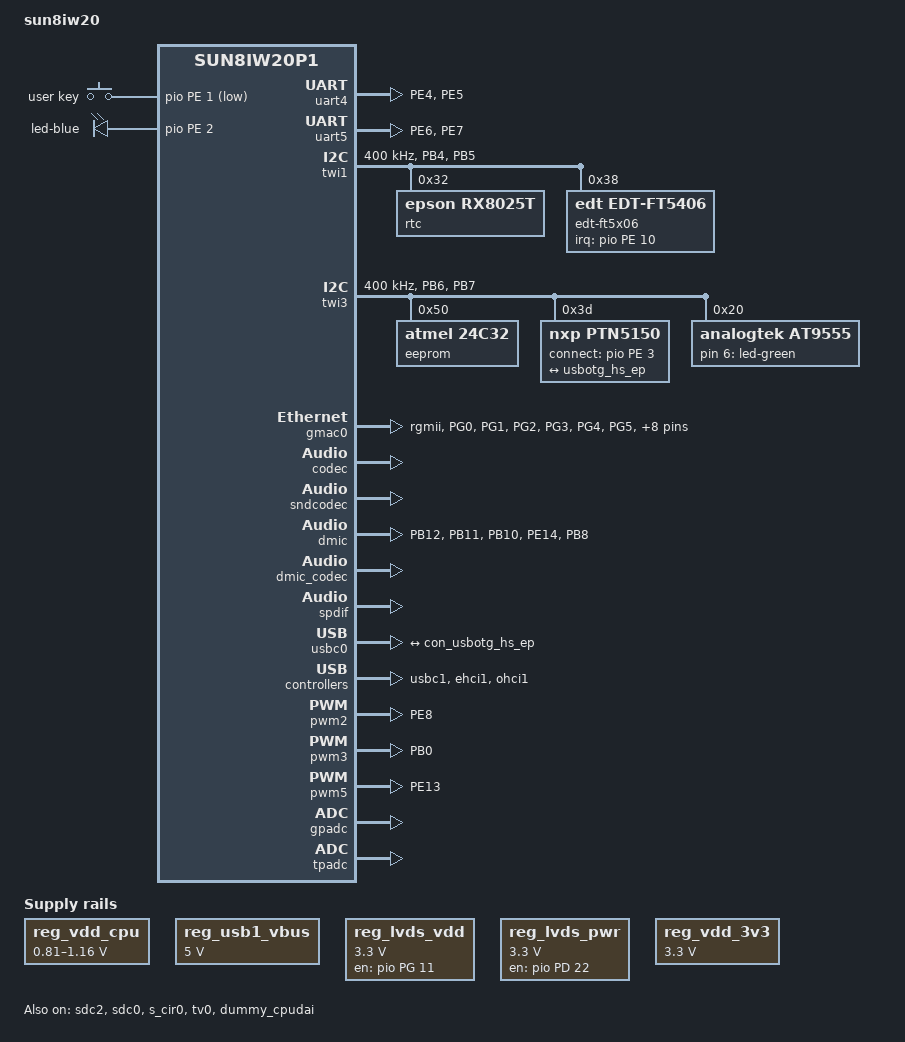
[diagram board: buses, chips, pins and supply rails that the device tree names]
/*
 * Allwinner Technology CO., Ltd.
 */

/dts-v1/;

/* optee used 7MB: SHM 2M: OS: 1M: TA:4M*/
/*/memreserve/ 0x41900000 0x00100000;*/
/* DSP used 1MB */
/* /memreserve/ 0x42000000 0x00100000; */

#include "sun8iw20p1.dtsi"
#include "myir-t113-lvds.dtsi"

/{
	model = "sun8iw20";
	compatible = "allwinner,r528", "arm,sun8iw20p1";

	aliases {
		share_space0 = &share_space0;
		dsp0_rproc = &dsp0_rproc;
	};

	reserved-memory {
		#address-cells = <2>;
		#size-cells = <2>;
		ranges;

		dsp0ddr_reserved: dspddr@42000000 {
			reg = <0x0 0x42000000 0x0 0x00100000>;
			no-map;
		};

		/*
		 * The name should be "vdev%dbuffer".
		 * Its size should be not less than
		 *     RPMSG_BUF_SIZE * (num of buffers in a vring) * 2
		 *   = 512 * (num of buffers in a vring) * 2
		 */
		vdev0buffer: vdev0buffer@42200000 {
			compatible = "shared-dma-pool";
			reg = <0x0 0x42200000 0x0 0x40000>;
			no-map;
		};

		/*
		 * The name should be "vdev%dvring%d".
		 * The size of each should be not less than
		 *     PAGE_ALIGN(vring_size(num, align))
		 *   = PAGE_ALIGN(16 * num + 6 + 2 * num + (pads for align) + 6 + 8 * num)
		 *
		 * (Please refer to the vring layout in include/uapi/linux/virtio_ring.h)
		 */
		vdev0vring0: vdev0vring0@42240000 {
			reg = <0x0 0x42240000 0x0 0x2000>;
			no-map;
		};
		vdev0vring1: vdev0vring1@42242000 {
			reg = <0x0 0x42242000 0x0 0x2000>;
			no-map;
		};

		/*
		* dsp ram addr
		*/
		dsp0dram_reserved: ramddr@400000 {
			reg = <0x0 0x400000 0x0 0x10000>;
			no-map;
		};
		dsp0iram0_reserved: ramddr@420000 {
			reg = <0x0 0x420000 0x0 0x8000>;
			no-map;
		};
		dsp0iram1_reserved: ramddr@440000 {
			reg = <0x0 0x440000 0x0 0x8000>;
			no-map;
		};
		dsp_share_space@42100000 {
			no-map;
			reg = <0x0 0x42100000 0x0 0x10000>;
		};
	};

	dsp0_rproc: dsp_rproc@0 {
		compatible = "allwinner,sun8iw20p1-dsp-rproc", "simple-bus";
		clock-frequency = <600000000>;
		clocks = <&ccu CLK_PLL_PERIPH0_2X>, <&ccu CLK_DSP>, <&ccu CLK_BUS_DSP_CFG>, <&r_ccu CLK_R_AHB>;
		clock-names = "pll", "mod", "bus", "ahbs";
		resets = <&ccu RST_BUS_DSP>, <&ccu RST_BUS_DSP_CFG>, <&ccu RST_BUS_DSP_DBG>;
		reset-names = "rst", "cfg", "dbg";
		reg = <0x0 0x03000008 0x0 0x04>,
		      <0x0 0x01700000 0x0 0x40>;
		reg-names = "sram-remap", "dsp-cfg";
		mboxes = <&msgbox 0>, <&msgbox 1>;
		mbox-names = "arm-mbox-tx", "arm-mbox-rx";
		memory-region = <&dsp0ddr_reserved>, <&vdev0buffer>, <&vdev0vring0>, <&vdev0vring1>,
				<&dsp0dram_reserved>, <&dsp0iram0_reserved>, <&dsp0iram1_reserved>;
		memory-mappings =
			/* < DA		len		PA >	*/
			/* local SRAM via external bus */
			< 0x28000	0x20000		0x28000 >,
			/* local SRAM via internal bus */
			< 0x400000	0x10000		0x400000 >,
			< 0x420000	0x8000		0x420000 >,
			< 0x440000	0x8000		0x440000 >,
			/* DDR front 256MB */
			< 0x10000000	0x10000000	0x40000000 >,
			/* local SRAM via internal bus */
			< 0x20028000	0x10000		0x400000 >,
			< 0x20038000	0x8000		0x420000 >,
			< 0x20040000	0x8000		0x440000 >,
			/* DDR front 256MB */
			< 0x30000000	0x10000000	0x40000000 >,
			/* DDR front 1GB */
			< 0x40000000	0x40000000	0x40000000 >,
			/* DDR front 1GB */
			< 0x80000000	0x40000000	0x40000000 >,
			/* DDR front 1GB */
			< 0xC0000000	0x40000000	0x40000000 >;

		id = <0>;
		status = "okay";

		/* driver config in dts for dsp0 */
		dsp0_system_resources: dsp_system_resources@0 {
			compatible = "allwinner,dsp-rproc-srm-core";
			status = "disabled";

			d_console_uart: d_console_uart@0 {
				compatible = "allwinner,dsp-rproc-srm-dev";
				status = "disabled";
			};

			d_gpio_interrupt: d_gpio_interrupt@0 {
				compatible = "allwinner,dsp-rproc-srm-dev";
				status = "disabled";
			};
		};
	};

	reg_vdd_cpu: vdd-cpu {
		compatible = "pwm-regulator";
		pwms = <&pwm 3 5000 0>;
		regulator-name = "vdd_cpu";
		regulator-min-microvolt = <810000>;
		regulator-max-microvolt = <1160000>;
		regulator-settling-time-us = <4000>;
		regulator-always-on;
		regulator-boot-on;
		status = "okay";
	};

	reg_usb1_vbus: usb1-vbus {
		compatible = "regulator-fixed";
		regulator-name = "usb1-vbus";
		regulator-min-microvolt = <5000000>;
		regulator-max-microvolt = <5000000>;
		regulator-enable-ramp-delay = <1000>;
		enable-active-high;
	};

	reg_lvds_vdd: lvds-vdd {
		compatible = "regulator-fixed";
		regulator-name = "lvds-vdd";
		regulator-min-microvolt = <3300000>;
		regulator-max-microvolt = <3300000>;
		gpio = <&pio PG 11 GPIO_ACTIVE_HIGH>;
		enable-active-high;
		regulator-always-on;
		regulator-boot-on;
	};

	reg_lvds_pwr: lvds-pwr {
		compatible = "regulator-fixed";
		regulator-name = "lvds-pwr";
		regulator-min-microvolt = <3300000>;
		regulator-max-microvolt = <3300000>;
		gpio = <&pio PD 22 GPIO_ACTIVE_HIGH>;
		enable-active-high;
		regulator-always-on;
		regulator-boot-on;
	};

	reg_vdd_3v3: vdd_3v3 {
		compatible = "regulator-fixed";
		regulator-name = "vdd-3v3";
		regulator-min-microvolt = <3300000>;
		regulator-max-microvolt = <3300000>;
		enable-active-high;
	};

	can0: can@0x0 {
		#address-cells = <1>;
		#size-cells = <0>;
		compatible = "allwinner,sun8i-can";
		device_type = "can0";
		id = <0>;
		status = "okay";
	};

	can1: can@0x1 {
		#address-cells = <1>;
		#size-cells = <0>;
		compatible = "allwinner,sun8i-can";
		device_type = "can1";
		id = <1>;
		status = "disabled";
	};

	gpio-keys {
		compatible = "gpio-keys";
		status = "okay";
		vol-down-key {
			gpios = <&pio PE 1 GPIO_ACTIVE_LOW>;
			linux,code = <114>;
			label = "user key";
			debounce-interval = <10>;
			wakeup-source = <0x1>;
		};
	};

	gpio-leds {
		compatible = "gpio-leds";
		status = "okay";

		led-blue {	
			label = "led-blue";
			gpios = <&pio PE 2 GPIO_ACTIVE_HIGH>;
			linux,default-trigger = "heartbeat";
			defaults-state = "on";
		};
		
		led-green {	
			label = "led-green";
			gpios = <&at9555 6 GPIO_ACTIVE_HIGH>;
			linux,default-trigger = "heartbeat";
			defaults-state = "on";
		};
	};
};

&cpu0 {
	cpu-supply = <&reg_vdd_cpu>;
};

&pio {
	sdc0_pins_a: sdc0@0 {
		allwinner,pins = "PF0", "PF1", "PF2",
				 "PF3", "PF4", "PF5";
		allwinner,function = "sdc0";
		allwinner,muxsel = <2>;
		allwinner,drive = <3>;
		allwinner,pull = <1>;
		pins = "PF0", "PF1", "PF2",
		       "PF3", "PF4", "PF5";
		function = "sdc0";
		drive-strength = <30>;
		bias-pull-up;
		power-source = <3300>;
	};


	sdc0_pins_b: sdc0@1 {
		pins = "PF0", "PF1", "PF2",
		       "PF3", "PF4", "PF5";
		function = "sdc0";
		drive-strength = <30>;
		bias-pull-up;
		power-source = <1800>;
	};

	sdc0_pins_c: sdc0@2 {
		pins = "PF0", "PF1", "PF2",
			"PF3", "PF4", "PF5";
		function = "gpio_in";
	};

	/* TODO: add jtag pin */
	sdc0_pins_d: sdc0@3 {
		pins = "PF2", "PF4";
		function = "uart0";
		drive-strength = <10>;
		bias-pull-up;
	};

	sdc0_pins_e: sdc0@4 {
		pins = "PF0", "PF1", "PF3",
			"PF5";
		function = "jtag";
		drive-strength = <10>;
		bias-pull-up;
	};

	sdc1_pins_a: sdc1@0 {
		pins = "PG0", "PG1", "PG2",
		       "PG3", "PG4", "PG5";
		function = "sdc1";
		drive-strength = <30>;
		bias-pull-up;
	};

	sdc1_pins_b: sdc1@1 {
		pins = "PG0", "PG1", "PG2",
		       "PG3", "PG4", "PG5";
			function = "sdc1";
	};

	sdc2_pins_a: sdc2@0 {
		allwinner,pins = "PC2", "PC3", "PC4",
				 "PC5", "PC6", "PC7";
		allwinner,function = "sdc2";
		allwinner,muxsel = <3>;
		allwinner,drive = <3>;
		allwinner,pull = <1>;
		pins = "PC2", "PC3", "PC4",
			"PC5", "PC6", "PC7";
		function = "sdc2";
		drive-strength = <30>;
		bias-pull-up;
	};

	sdc2_pins_b: sdc2@1 {
		pins = "PC2", "PC3", "PC4",
		       "PC5", "PC6", "PC7";
		function = "gpio_in";
	};

	wlan_pins_a:wlan@0 {
		pins = "PG11";
		function = "clk_fanout1";
	};

	lvds0_pins_a: lvds0@0 {
		allwinner,pins  = "PD0", "PD1", "PD2", "PD3", "PD4", "PD5", "PD6", "PD7", "PD8", "PD9";
		allwinner,pname = "PD0", "PD1", "PD2", "PD3", "PD4", "PD5", "PD6", "PD7", "PD8", "PD9";
		allwinner,function = "lvds0";
		allwinner,muxsel = <3>;
		allwinner,drive = <3>;
		allwinner,pull = <0>;
	};

	lvds0_pins_b: lvds0@1 {
		allwinner,pins  = "PD0", "PD1", "PD2", "PD3", "PD4", "PD5", "PD6", "PD7", "PD8", "PD9";
		allwinner,pname = "PD0", "PD1", "PD2", "PD3", "PD4", "PD5", "PD6", "PD7", "PD8", "PD9";
		allwinner,function = "lvds0_suspend";//io_disabled
		allwinner,muxsel = <7>;
		allwinner,drive = <3>;
		allwinner,pull = <0>;
	};

	lvds2link_pins_a: lvds2link@0 {
		allwinner,pins = "PD0", "PD1", "PD2", "PD3", "PD4", "PD5", "PD6", "PD7", "PD8", "PD9", \
		"PD10", "PD11", "PD12", "PD13", "PD14", "PD15", "PD16", "PD17", "PD18", "PD19";
		allwinner,pname = "PD0", "PD1", "PD2", "PD3", "PD4", "PD5", "PD6", "PD7", "PD8", "PD9", \
		"PD10", "PD11", "PD12", "PD13", "PD14", "PD15", "PD16", "PD17", "PD18", "PD19";
		allwinner,function = "lvds0";
		allwinner,muxsel = <3>;
		allwinner,drive = <3>;
		allwinner,pull = <0>;
	};

	lvds2link_pins_b: lvds2link@1 {
		allwinner,pins = "PD0", "PD1", "PD2", "PD3", "PD4", "PD5", "PD6", "PD7", "PD8", "PD9", \
		"PD10", "PD11", "PD12", "PD13", "PD14", "PD15", "PD16", "PD17", "PD18", "PD19";
		allwinner,pname = "PD0", "PD1", "PD2", "PD3", "PD4", "PD5", "PD6", "PD7", "PD8", "PD9", \
		"PD10", "PD11", "PD12", "PD13", "PD14", "PD15", "PD16", "PD17", "PD18", "PD19";
		allwinner,function = "lvds0_suspend";
		allwinner,muxsel = <7>;
		allwinner,drive = <3>;
		allwinner,pull = <0>;
	};

	uart4_pins_a: uart4_pins@0 {
		pins = "PE4", "PE5";
		function = "uart4";
		drive-strength = <10>;
		bias-pull-up;
	};

	uart4_pins_b: uart4_pins@1 {
		pins = "PE4", "PE5";
		function = "gpio_in";
	};

	uart5_pins_a: uart5_pins@0 {
		pins = "PE6", "PE7";
		function = "uart5";
		drive-strength = <10>;
		bias-pull-up;
	};

	uart5_pins_b: uart5_pins@1 {
		pins = "PE6", "PE7";
		function = "gpio_in";
	};

	twi1_pins_a: twi1@0 {
		pins = "PB4", "PB5";
		function = "twi1";
		drive-strength = <10>;
	};

	twi1_pins_b: twi1@1 {
		pins = "PB4", "PB5";
		function = "gpio_in";
	};

	twi3_pins_a: twi3@0 {
		pins = "PB6", "PB7";
		function = "twi3";
		drive-strength = <10>;
	};

	twi3_pins_b: twi3@1 {
		pins = "PB6", "PB7";
		function = "gpio_in";
	};

	s_cir0_pins_a: s_cir0@0 {
		pins = "PB1";
		function = "ir";
		drive-strength = <10>;
		bias-pull-up;
	};

	s_cir0_pins_b: s_cir0@1 {
		pins = "PB1";
		function = "gpio_in";
	};

	ir1_pins_a: ir1@0 {
		pins = "PB0";
		function = "ir";
		drive-strength = <10>;
		bias-pull-up;
	};

	ir1_pins_b: ir1@1 {
		pins = "PB0";
		function = "gpio_in";
	};

	dmic_pins_a: dmic@0 {
		/* DMIC_PIN: CLK, DATA0, DATA1, DATA2, DATA3*/
		pins = "PB12", "PB11", "PB10", "PE14", "PB8";
		function = "dmic";
		drive-strength = <20>;
		bias-disable;
	};

	dmic_pins_b: dmic@1 {
		pins = "PB12", "PB11", "PB10", "PE14", "PB8";
		allwinner,function = "io_disabled";
		drive-strength = <20>;
		bias-disable;
	};

	daudio0_pins_a: daudio0@0 {
		pins = "PB29", "PB23", "PB24",
		       "PB25", "PB26", "PB27", "PB28",
		       "PB22";
		function = "i2s0";
		drive-strength = <20>;
		bias-disable;
	};

	daudio0_pins_b: daudio0_sleep@0 {
		pins = "PB29", "PB23", "PB24",
		       "PB25", "PB26", "PB27", "PB28",
		       "PB22";
		function = "io_disabled";
		drive-strength = <20>;
		bias-disable;
	};

	spdif_pins_a: spdif@0 {
		/* SPDIF_PIN: SPDIF_OUT */
		pins = "PG18";
		function = "spdif";
		drive-strength = <20>;
		bias-disable;
	};

	spdif_pins_b: spdif_sleep@0 {
		pins = "PG18";
		function = "io_disabled";
		drive-strength = <20>;
		bias-disable;
	};

	gmac0_pins_a: gmac@0 {
		allwinner,pins = "PG0", "PG1", "PG2", "PG3", "PG4",
				 "PG5", "PG6", "PG7","PG8", "PG9",
				 "PG10", "PG12", "PG14","PG15";
		allwinner,function = "gmac0";
		allwinner,muxsel = <4>;
		allwinner,drive = <1>;
		allwinner,pull = <0>;
	};

	gmac0_pins_b: gmac@1 {
		allwinner,pins = "PG0", "PG1", "PG2", "PG3", "PG4",
				 "PG5", "PG6", "PG7","PG8", "PG9",
				 "PG10", "PG12", "PG14", "PG15";
		allwinner,function = "gpio_in";
		allwinner,muxsel = <0>;
		allwinner,drive = <1>;
		allwinner,pull = <0>;
	};

	pwm2_pin_a: pwm2@0 {
		pins = "PE8";
		function = "pwm2";
		drive-strength = <10>;
		bias-pull-up;
	};

	pwm2_pin_b: pwm2@1 {
		pins = "PE8";
		function = "gpio_in";
	};

	pwm3_pin_a: pwm3@0 {
		pins = "PB0";
		function = "pwm3";
		drive-strength = <10>;
		bias-pull-up;
	};

	pwm3_pin_b: pwm3@1 {
		pins = "PB0";
		function = "gpio_in";
	};

	pwm5_pin_a: pwm5@0 {
		pins = "PE13";
		function = "pwm5";
		drive-strength = <10>;
		bias-pull-up;
	};

	pwm5_pin_b: pwm5@1 {
		pins = "PE13";
		function = "gpio_in";
	};
};

&uart0 {
	status = "disabled";
};

&uart1 {
	status = "disabled";
};

&uart2 {
	status = "disabled";
};

&uart3 {
	status = "disabled";
};

&uart4 {
	pinctrl-names = "default", "sleep";
	pinctrl-0 = <&uart4_pins_a>;
	pinctrl-1 = <&uart4_pins_b>;
	status = "okay";
};

&uart5 {
	pinctrl-names = "default", "sleep";
	pinctrl-0 = <&uart5_pins_a>;
	pinctrl-1 = <&uart5_pins_b>;
	status = "okay";
};

&sdc2 {
	non-removable;
	bus-width = <4>;
	mmc-ddr-1_8v;
	// mmc-hs200-1_8v;
	no-sdio;
	no-sd;
	ctl-spec-caps = <0x308>;
	cap-mmc-highspeed;
	sunxi-power-save-mode;
	sunxi-dis-signal-vol-sw;
	mmc-bootpart-noacc;
	max-frequency = <150000000>;
	/*vmmc-supply = <&reg_dcdc1>;*/
	/*emmc io vol 3.3v*/
	/*vqmmc-supply = <&reg_aldo1>;*/
	/*emmc io vol 1.8v*/
	/*vqmmc-supply = <&reg_eldo1>;*/
	status = "okay";
};

&sdc0 {
	bus-width = <4>;
	cd-gpios = <&pio PF 6 (GPIO_ACTIVE_LOW | GPIO_PULL_UP)>;
	/*non-removable;*/
	broken-cd;
	/*cd-inverted*/
	/*data3-detect;*/
	/*card-pwr-gpios = <&pio PH 14 1 1 2 0xffffffff>;*/
	/*cd-used-24M;*/
	cap-sd-highspeed;
	/*sd-uhs-sdr50;*/
	/*sd-uhs-ddr50;*/
	/*sd-uhs-sdr104;*/
	no-sdio;
	no-mmc;
	no-1-8-v;
	sunxi-power-save-mode;
	/*sunxi-dis-signal-vol-sw;*/
	max-frequency = <150000000>;
	ctl-spec-caps = <0x8>;
	/*vmmc-supply = <&reg_dcdc1>;*/
	/*vqmmc33sw-supply = <&reg_dcdc1>;*/
	/*vdmmc33sw-supply = <&reg_dcdc1>;*/
	/*vqmmc18sw-supply = <&reg_eldo1>;*/
	/*vdmmc18sw-supply = <&reg_eldo1>;*/
	status = "okay";
};

&sdc1 {
	bus-width = <4>;
	no-mmc;
	no-sd;
	cap-sd-highspeed;
	/*sd-uhs-sdr12*/
	/*sd-uhs-sdr25;*/
	/*sd-uhs-sdr50;*/
	/*sd-uhs-ddr50;*/
	/*sd-uhs-sdr104;*/
	/*sunxi-power-save-mode;*/
	/*sunxi-dis-signal-vol-sw;*/
	cap-sdio-irq;
	keep-power-in-suspend;
	ignore-pm-notify;
	max-frequency = <150000000>;
	ctl-spec-caps = <0x8>;
	status = "disabled";
};

&rtc {
	status = "disabled";
};

&twi0 {
	status = "disabled";
};

&twi1 {
	clock-frequency = <400000>;
	pinctrl-0 = <&twi1_pins_a>;
	pinctrl-1 = <&twi1_pins_b>;
	pinctrl-names = "default", "sleep";
	// twi_drv_used = <1>;
	// dmas = <&dma 45>, <&dma 45>;
	// dma-names = "tx", "rx";
	status = "okay";
	rtc@32 {
		compatible = "epson,rx8025t";
		reg = <0x32>;
		status = "okay";
    };

	edt-ft5x06@38 {
		compatible = "edt,edt-ft5406", "edt,edt-ft5x06";
		reg = <0x38>;
		interrupt-parent = <&pio>;
		interrupts = <PE 10 IRQ_TYPE_EDGE_FALLING>; //IRQ_TYPE_LEVEL_LOW
		// reset-gpios = <&pio PD 23 1 0xffffffff 0xffffffff 1>;
		// gpio-controller;
		touchscreen-size-x=<1024>;                                                                                          
        	touchscreen-size-y=<600>; 
		status = "okay";
	};

	ctp {
		device_type = "ctp";
		status = "okay";
		ctp_twi_id = <0x1>;
		ctp_twi_addr = <0x38>;
		ctp_screen_max_x = <0x400>;
		ctp_screen_max_y = <0x258>;
		ctp_revert_x_flag = <0x0>;
		ctp_revert_y_flag = <0x1>;
		ctp_exchange_x_y_flag = <0x1>;
		ctp_int_port = <&pio PE 10 GPIO_ACTIVE_HIGH>;
		// ctp_wakeup = <&pio PB 7 GPIO_ACTIVE_HIGH>;
		ctp-supply = <&reg_vdd_3v3>;
		ctp_power_ldo_vol = <3300>;
	};
};

&twi2 {
	status = "disabled";
};

&twi3 {
	clock-frequency = <400000>;
	pinctrl-0 = <&twi3_pins_a>;
	pinctrl-1 = <&twi3_pins_b>;
	pinctrl-names = "default", "sleep";
	status = "okay";

	eeprom@50 {
		compatible = "atmel,24c32";
		reg = <0x50>;
	};

	ptn5150@3d {
		compatible = "nxp,ptn5150";
		reg = <0x3d>;
		connect-gpios = <&pio PE 3 GPIO_ACTIVE_HIGH>;
		status = "okay";

		connector {
			compatible = "usb-c-connector";
			label = "USB-C";
			port {
				con_usbotg_hs_ep: endpoint {
					remote-endpoint = <&usbotg_hs_ep>;
				};
			};
		};
	};

	at9555: at9555@20 {
		compatible = "analogtek,at9555";
		reg = <0x20>;
		#gpio-cells = <2>;
		gpio_base = <224>;
	};
};

&spi0 {
	status = "disabled";
};

&spi1 {
	status = "disabled";
};

&ledc {
	status	= "disabled";
};

&s_cir0 {
	pinctrl-names = "default";
	pinctrl-0 = <&s_cir0_pins_a>;
	status = "okay";
};

&ir1 {
	pinctrl-names = "default";
	pinctrl-0 = <&ir1_pins_a>;
	status = "disabled";
};

&gmac0 {
	pinctrl-0 = <&gmac0_pins_a>;
	pinctrl-1 = <&gmac0_pins_b>;
	pinctrl-names = "default", "sleep";
	phy-mode = "rgmii";
	use_ephy25m = <0>;//1
	tx-delay = <2>;//7
	rx-delay = <0>;//31
	phy-rst = <&pio PE 11 GPIO_ACTIVE_HIGH>;
	status = "okay";
};

&soc {
	platform@45000004 {
		reg = <0x0 0x45000004 0x0 0x0>;
		eraseflag   = <1>;
		next_work   = <3>;
		debug_mode  = <8>;
	};

	target@45000008 {
		reg = <0x0 0x45000008 0x0 0x0>;
		boot_clock = <1008>;	/*CPU boot frequency, Unit: MHz*/
		storage_type = <0xffffffff>; /*boot medium, 0-nand, 1-card0, 2-card2, -1(defualt)auto scan*/
		burn_key = <0>;		/*1:support burn key; 0:not support burn key*/
		dragonboard_test = <0>;	/*1:support card boot dragonboard; 0:not support card boot dragonboard*/
	};

	card0_boot_para@2 {
		/*
		 * Avoid dtc compiling warnings.
		 * @TODO: Developer should modify this to the actual value
		 */
		reg = <0x0 0x2 0x0 0x0>;
		device_type = "card0_boot_para";
		card_ctrl = <0x0>;
		card_high_speed = <0x1>;
		card_line = <0x4>;
		pinctrl-0 = <&sdc0_pins_a>;
	};

	card2_boot_para@3 {
		/*
		 * Avoid dtc compiling warnings.
		 * @TODO: Developer should modify this to the actual value
		 */
		reg = <0x0 0x3 0x0 0x0>;
		device_type = "card2_boot_para";
		card_ctrl = <0x2>;
		card_high_speed = <0x1>;
		card_line = <0x4>;
		pinctrl-0 = <&sdc2_pins_a>;
		/*pinctrl-0 = <&sdc0_pins_a>;*/
		/*sdc_ex_dly_used = <0x2>;*/
		sdc_io_1v8 = <0x1>;
		/*sdc_type = "tm4";*/
		sdc_tm4_hs200_max_freq = <150>;
		sdc_tm4_hs400_max_freq = <100>;
		sdc_ex_dly_used = <2>;
		/*sdc_tm4_win_th = <8>;*/
		/*sdc_dis_host_caps = <0x180>;*/
	};

	rfkill: rfkill@0 {
		status        = "disabled";
	};

	btlpm: btlpm@0 {
		status      = "disabled";
	};

	car_reverse:car-reverse {
		status      = "disabled";
	};
};

&vind0 {
	csi_top = <378000000>;
	csi_isp = <327000000>;
	status = "disabled"; /* enable twi and ver1 spi-nand max freq 30M */
};

/*----------------------------------------------------------------------------------
;tv configuration
;interface          (interface type,1<->cvbs,2<->YPBPR,4<->SVIDEO)
;dac_type           (0<->composite,1<->luma,2<->chroma,3<->reserved,4<->y/green,
;                    5<->u/pb/blue,6<->v/pr/red)
;dac_src            (dac no,support dac_src0~dac_src3,dac num max is 4)
;NOTE:              tv0,tv1 can not use the same dac_src.
;---------------------------------------------------------------------------------*/
&tv0 {
	interface       = <1>;
	dac_type0       = <0>;
	dac_src0        = <0>;

	status =  "okay";
};

/*
tvd configuration
used                   (create device, 0: do not create device, 1: create device)
agc_auto_enable        (0: agc manual mode,agc_manual_value is valid; 1: agc auto mode)
agc_manual_value       (agc manual value, default value is 64)
cagc_enable            (cagc        0: disable, 1: enable)
fliter_used            (3d fliter   0: disable, 1: enable)
support two PMU power  (tvd_power0, tvd_power1)
support two GPIO power (tvd_gpio0, tvd_gpio1)
NOTICE: If tvd need pmu power or gpio power,params need be configured under [tvd]
tvd_sw                 (the switch of all tvd driver.)
tvd_interface          (0: cvbs, 1: ypbpr,)
tvd_format             (0:TVD_PL_YUV420 , 1: MB_YUV420, 2: TVD_PL_YUV422)
tvd_system             (0:ntsc, 1:pal)
tvd_row                (total row number in multi channel mode 1-2)
tvd_column             (total column number in multi channel mode 1-2)
tvd_channelx_en        (0:disable, 1~4:position in multi channel mode,In single channel
                       mode,mean enable)
tvd_row*tvd_column is the total tvd channel number to be used in multichannel mode
+--------------------+--------------------+
|                    |                    |
|                    |                    |
|         1          |         2          |
|                    |                    |
|                    |                    |
+--------------------+--------------------+
|                    |                    |
|                    |                    |
|         3          |         4          |
|                    |                    |
|                    |                    |
+--------------------+--------------------+
*/

&tvd {
	tvd_sw          = <1>;
	tvd_interface   = <0>;
	tvd_format      = <0>;
	tvd_system      = <1>;
	tvd_row         = <1>;
	tvd_column      = <1>;
	tvd_channel0_en = <1>;
	tvd_channel1_en = <0>;
	tvd_channel2_en = <0>;
	tvd_channel3_en = <0>;
	/*tvd_gpio0 = <&pio PD 22 GPIO_ACTIVE_HIGH>;*/
	/*tvd_gpio1 = <&pio PD 23 GPIO_ACTIVE_HIGH>;*/
	/*tvd_gpio2 = <&pio PD 24 GPIO_ACTIVE_HIGH>;*/
	/*	dc1sw-supply = <&reg_dc1sw>;*/
	/*	eldo3-supply = <&reg_eldo3>;*/
	/*tvd_power0      = "dc1sw"*/
	/*tvd_power1      = "eldo3"*/
};

&tvd0 {
	used                    = <1>;
	agc_auto_enable         = <1>;
	agc_manual_value        = <64>;
	cagc_enable             = <1>;
	fliter_used             = <1>;
};

&hdmi {
	status = "disabled";
};

/* Audio Driver modules */
&codec {
	/* MIC and headphone gain setting */
	mic1gain 		= <0x1F>;
	mic2gain 		= <0x1F>;
	mic3gain 		= <0x1F>;
	/* ADC/DAC DRC/HPF func enabled */
	/* 0x1:DAP_HP_EN; 0x2:DAP_SPK_EN; 0x3:DAP_HPSPK_EN */
	adcdrc_cfg		= <0x0>;
	adchpf_cfg		= <0x1>;
	dacdrc_cfg		= <0x2>;
	dachpf_cfg		= <0x3>;
	/* Volume about */
	digital_vol 	= <0x00>;
	lineout_vol 	= <0x1a>;
	headphonegain	= <0x03>;
	/* Pa enabled about */
	pa_level 		= <0x01>;
	pa_pwr_level 	= <0x01>;
	pa_msleep_time 	= <0x78>;
	/* gpio-spk	= <&pio PE 11 GPIO_ACTIVE_LOW>; */
	/* CMA config about */
	playback_cma	= <128>;
	capture_cma	= <256>;
	/* regulator about */
	/* avcc-supply	= <&reg_aldo1>; */
	/* hpvcc-supply	= <&reg_eldo1>; */
	status = "okay";
};

&sndcodec {
	hp_detect_case	= <0x00>;
	jack_enable		= <0x01>;
	status = "okay";
};

&dummy_cpudai {
	playback_cma	= <128>;
	capture_cma		= <256>;
	status			= "okay";
};

&dmic {
	pinctrl-names   = "default","sleep";
	pinctrl-0       = <&dmic_pins_a>;
	pinctrl-1       = <&dmic_pins_b>;
	status = "okay";
};

&dmic_codec {
	status = "okay";
};

&sounddmic {
	status = "okay";
};

/*-----------------------------------------------------------------------------
 * pcm_lrck_period	16/32/64/128/256
 *			(set 0x20 for HDMI audio out)
 * slot_width_select	16bits/20bits/24bits/32bits
 *			(set 0x20 for HDMI audio out)
 * frametype		0 --> short frame = 1 clock width;
 *			1 --> long frame = 2 clock width;
 * tdm_config		0 --> pcm
 *			1 --> i2s
 *			(set 0x01 for HDMI audio out)
 * mclk_div		0 --> not output
 *			1/2/4/6/8/12/16/24/32/48/64/96/128/176/192
 *			(set mclk as external codec clk source, freq is pll_audio/mclk_div)
 * pinctrl_used		0 --> I2S/PCM use for internal (e.g. HDMI)
 *			1 --> I2S/PCM use for external audio
 * daudio_type:		0 --> external audio type
 *			1 --> HDMI audio type
 *---------------------------------------------------------------------------*/
&daudio0 {
	mclk_div 	= <0x01>;
	frametype 	= <0x00>;
	tdm_config 	= <0x01>;
	sign_extend 	= <0x00>;
	msb_lsb_first 	= <0x00>;
	pcm_lrck_period = <0x80>;
	slot_width_select = <0x20>;
	pinctrl-names   = "default", "sleep";
	pinctrl-0       = <&daudio0_pins_a>;
	pinctrl-1       = <&daudio0_pins_b>;
	pinctrl_used	= <0x0>;
	status = "disabled";
};

&sounddaudio0 {
	status = "disabled";
	daudio0_master: simple-audio-card,codec {
		/* sound-dai = <&ac108>; */
	};
};

/*-----------------------------------------------------------------------------
 * simple-audio-card,name	name of sound card, e.g.
 *				"snddaudio0" --> use for external audio
 *				"sndhdmi" --> use for HDMI audio
 * sound-dai			"snd-soc-dummy" --> use for I2S
 *				"hdmiaudio" --> use for HDMI audio
 *				"ac108" --> use for external audio of ac108
 *---------------------------------------------------------------------------*/
&daudio1 {
	status = "disabled";
};

&sounddaudio1 {
	status = "disabled";
	daudio1_master: simple-audio-card,codec {
		/* sound-dai = <&ac108>; */
	};
};

&daudio2 {
	status = "disabled";
};

/* if HDMI audio is used, daudio2 should be enable. */
&hdmiaudio {
	status = "disabled";
};

&sounddaudio2 {
	status = "disabled";
	daudio2_master: simple-audio-card,codec {
		/* sound-dai = <&ac108>; */
	};
};

&spdif {
	status = "okay";
};

&soundspdif {
	status = "okay";
};

/*
 *usb_port_type: usb mode. 0-device, 1-host, 2-otg.
 *usb_detect_type: usb hotplug detect mode. 0-none, 1-vbus/id detect, 2-id/dpdm detect.
 *usb_detect_mode: 0-thread scan, 1-id gpio interrupt.
 *usb_id_gpio: gpio for id detect.
 *usb_det_vbus_gpio: gpio for id detect. gpio or "axp_ctrl";
 *usb_wakeup_suspend：0-SUPER_STANDBY, 1-USB_STANDBY.
 */
&usbc0 {
	device_type = "usbc0";
	usb_port_type = <0x2>;
	usb_detect_type = <0x1>;
	usb_detect_mode = <1>;
	usb_id_gpio = <&pio PE 12 GPIO_ACTIVE_HIGH>;
	enable-active-high;
	usb_wakeup_suspend = <0>;
	usb_serial_unique = <0>;
	usb_serial_number = "20080411";
	rndis_wceis = <1>;
	status = "okay";

	port {
		usbotg_hs_ep: endpoint {
				remote-endpoint = <&con_usbotg_hs_ep>;
		};
	};
};

&ehci0 {
	drvvbus-supply = <&reg_usb1_vbus>;
};

&ohci0 {
	drvvbus-supply = <&reg_usb1_vbus>;
};

&usbc1 {
	device_type = "usbc1";
	usb_port_type = <0x01>;
	sb_detect_type = <0x1>;
	usb_regulator_io = "nocare";
	usb_wakeup_suspend = <0>;
	status = "okay";
};
&ehci1 {
	drvvbus-supply = <&reg_usb1_vbus>;
	status = "okay";
};

&ohci1 {
	drvvbus-supply = <&reg_usb1_vbus>;
	status = "okay";
};

&pwm2 {
	pinctrl-names = "active", "sleep";
	pinctrl-0 = <&pwm2_pin_a>;
	pinctrl-1 = <&pwm2_pin_b>;
	status = "okay";
};

&pwm3 {
	pinctrl-names = "active", "sleep";
	pinctrl-0 = <&pwm3_pin_a>;
	pinctrl-1 = <&pwm3_pin_b>;
	status = "okay";
};

&pwm5 {
	pinctrl-names = "active", "sleep";
	pinctrl-0 = <&pwm5_pin_a>;
	pinctrl-1 = <&pwm5_pin_b>;
	status = "okay";
};

&pwm7 {
	status = "disabled";
};

&gpadc {
	channel_num = <1>;
	channel_select = <0x1>;
	channel_data_select = <0>;
	channel_compare_select = <0x1>;
	channel_cld_select = <0x1>;
	channel_chd_select = <0>;
	channel0_compare_lowdata = <1700000>;
	channel0_compare_higdata = <1200000>;
	channel1_compare_lowdata = <460000>;
	channel1_compare_higdata = <1200000>;
	key_cnt = <5>;
	key0_vol = <210>;
	key0_val = <115>;
	key1_vol = <410>;
	key1_val = <114>;
	key2_vol = <590>;
	key2_val = <119>;
	key3_vol = <750>;
	key3_val = <373>;
	key4_vol = <880>;
	key4_val = <28>;
	status = "okay";
};

&tpadc {
	key_cnt = <4>;
	key1 = <210 115>;
	key2 = <410 114>;
	key3 = <590 119>;
	key4 = <750 373>;
	status = "okay";
};



